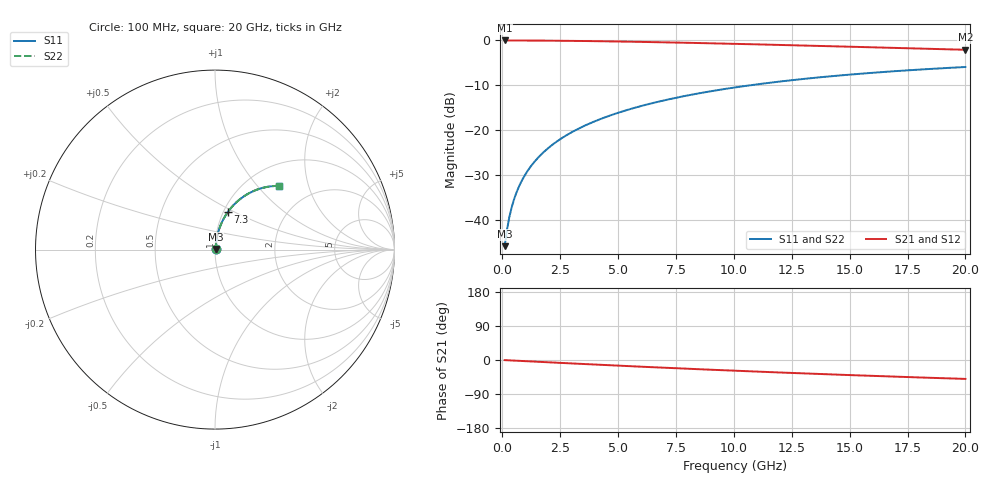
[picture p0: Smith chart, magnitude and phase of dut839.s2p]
! Touchstone file exported from HFSS 2024.1.0
!  File:  C:/UserFiles/LocalFiles/RDL_TSV_Batchsim/temp_RDL_bottom_839_1779863608.aedt
!  Generated:  02:36:14 PM May 27, 2026
!  Design:  RDL_bottom
!  Project:  temp_RDL_bottom_839_1779863608
!  Setup:  Setup1
!  Solution:  Sweep
! Variables:
!  dtsv = 10.80580581um
!  hbump = 3um
!  htsv = 70.73um
!  ldown = 692.3um
!  lrdl = 100um
!  p = 40
!  p1 = 50.35um
!  rhole = 1um
!  t = 450um
!  tdown = 4.67um
!  trdl = 3.915915916um
!  wdown = 13.72um
!  wrdl = 20um
# GHz S MA R 50.000000
! Terminal data exported
! Port[1] = RDL1_T1
! Port[2] = RDL1_T2
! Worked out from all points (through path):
!   200 points, 100 MHz to 20 GHz, reference 50 ohm
!   highest |S21| = -0.03 dB at 100 MHz (marker M1); lowest = -2.1 dB at 20 GHz (marker M2)
!   group delay of S21, straight-line fit = 6.92 ps
!   lowest |S11| = -45.8 dB at 100 MHz (marker M3), VSWR 1.01, Z = 50.4 + j0.333 ohm
!   |S11| at or under -10 dB: start of sweep to 10.72 GHz
!   |S22| runs from -45.8 to -5.9 dB; largest |S21 - S12| = 2.1e-14
!   S11 on the Smith chart (normalised r, x): 100 MHz: 1.01, +0.01; 7.3 GHz: 1.05, +0.47; 20 GHz: 1.39, +1.32
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0.1  0.005107 40.3  0.9961 -0.3  0.9961 -0.3  0.005107 40.3
! Gamma 0 0 0 0
! Port Impedance 50 0 50 0
0.2  0.007699 58.5  0.996 -0.6  0.996 -0.6  0.007699 58.5
0.3  0.01064 66.8  0.9958 -0.9  0.9958 -0.9  0.01064 66.8
0.4  0.01367 71.3  0.9957 -1.2  0.9957 -1.2  0.01367 71.3
0.5  0.01673 74.1  0.9955 -1.5  0.9955 -1.5  0.01673 74.1
0.6  0.01982 76.0  0.9953 -1.9  0.9953 -1.9  0.01982 76.0
0.8  0.02603 78.4  0.9949 -2.5  0.9949 -2.5  0.02603 78.4
1.1  0.0354 80.1  0.9942 -3.4  0.9942 -3.4  0.0354 80.1
1.5  0.04794 80.9  0.993 -4.6  0.993 -4.6  0.04794 80.9
1.8  0.05735 81.0  0.9919 -5.5  0.9919 -5.5  0.05735 81.0
2.1  0.06674 80.9  0.9906 -6.4  0.9906 -6.4  0.06674 80.9
2.7  0.08547 80.2  0.9874 -8.2  0.9874 -8.2  0.08547 80.2
3.5  0.1102 78.9  0.9823 -10.6  0.9823 -10.6  0.1102 78.9
4.2  0.1317 77.6  0.9769 -12.6  0.9769 -12.6  0.1317 77.6
5  0.1559 75.9  0.97 -14.9  0.97 -14.9  0.1559 76.0
6.8  0.209 72.1  0.9519 -19.9  0.9519 -19.9  0.2091 72.1
7.3  0.2234 71.0  0.9464 -21.2  0.9464 -21.2  0.2235 71.0
8.6  0.2599 68.1  0.9312 -24.6  0.9312 -24.6  0.26 68.1
10.1  0.3001 64.8  0.9127 -28.4  0.9127 -28.4  0.3002 64.8
13.4  0.3804 57.6  0.8697 -36.2  0.8697 -36.2  0.3806 57.6
16.7  0.4485 50.9  0.8262 -43.4  0.8262 -43.4  0.4487 50.9
20  0.5045 44.7  0.7846 -49.9  0.7846 -49.9  0.5047 44.7
